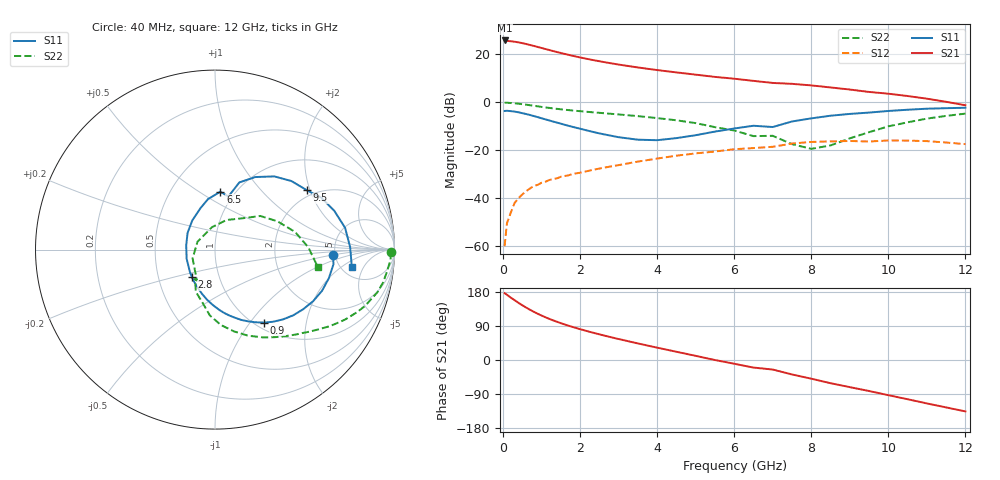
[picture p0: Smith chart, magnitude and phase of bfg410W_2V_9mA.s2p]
! Filename: 29bfg410.001
! BFG410W Field B1
! V1=8.739E-001V,V2=2.000E+000V, I1=1.389E-004A, I2=8.990E-003A
# GHz  S  MA  R 50
!  S11  S21  S12  S22
!Freq(GHz)  Mag  Ang  Mag  Ang  Mag  Ang  Mag  Ang
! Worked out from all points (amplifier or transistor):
!   44 points, 40 MHz to 12 GHz, reference 50 ohm
!   highest |S21| = 25.8 dB at 40 MHz (marker M1)
!   |S21| within 3 dB of that: start of sweep to 966.6 MHz
!   unconditionally stable (mu >= 1): 1.952 GHz to end of sweep
!   at 700 MHz: K = 0.49, MSG = 29.9 dB, |S12| = -35.9 dB
!   at 2.4 GHz: K = 1.10, MAG = 20.8 dB, |S12| = -28.0 dB
!   at 12 GHz: K = 1.52, MAG = 3.9 dB, |S12| = -17.5 dB
!   S11 on the Smith chart (normalised r, x): 40 MHz: 4.80, -0.53; 900 MHz: 1.10, -1.17; 2.8 GHz: 0.74, -0.24; 6.5 GHz: 0.86, +0.62; 9.5 GHz: 1.81, +1.91; 12 GHz: 6.19, -2.98
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0.04  0.659 -2.7  19.45 176.3  0.001 81.9  0.978 -0.9
0.1  0.665 -7.1  19.14 172.2  0.003 88.0  0.98 -3.3
0.2  0.654 -14.1  18.71 164.6  0.005 81.6  0.965 -7.6
0.3  0.639 -21.1  18.3 157.8  0.008 78.8  0.954 -11.1
0.4  0.618 -27.6  17.76 150.8  0.01 75.6  0.935 -14.8
0.5  0.593 -34.1  17.11 144.4  0.012 71.9  0.912 -17.7
0.6  0.569 -40.1  16.42 138.3  0.014 69.4  0.892 -20.7
0.7  0.543 -45.7  15.65 132.5  0.016 66.9  0.867 -23.5
0.9  0.49 -56.1  14.24 122.0  0.019 63.2  0.823 -28.3
1.2  0.418 -69.6  12.28 108.5  0.024 59.3  0.763 -34.2
1.5  0.358 -81.5  10.65 97.2  0.028 56.6  0.714 -39.1
1.8  0.308 -92.4  9.337 87.3  0.032 54.6  0.674 -43.6
2.2  0.256 -106.6  7.976 75.7  0.037 52.2  0.631 -49.5
2.8  0.201 -129.9  6.498 60.1  0.046 48.2  0.575 -58.2
3.5  0.166 -162.2  5.319 43.7  0.058 42.0  0.514 -69.0
4.5  0.179 148.7  4.196 21.7  0.077 30.2  0.421 -85.6
5.5  0.245 109.2  3.382 -0.1  0.094 15.3  0.303 -103.4
6.5  0.324 84.7  2.796 -20.0  0.111 1.4  0.197 -124.3
8.5  0.525 51.0  2.037 -61.2  0.153 -32.4  0.126 97.8
9.5  0.61 32.8  1.642 -81.8  0.152 -52.1  0.238 47.5
10.5  0.699 18.0  1.351 -103.5  0.159 -72.6  0.382 24.4
12  0.769 -7.3  0.867 -135.6  0.134 -110.1  0.58 -9.5
